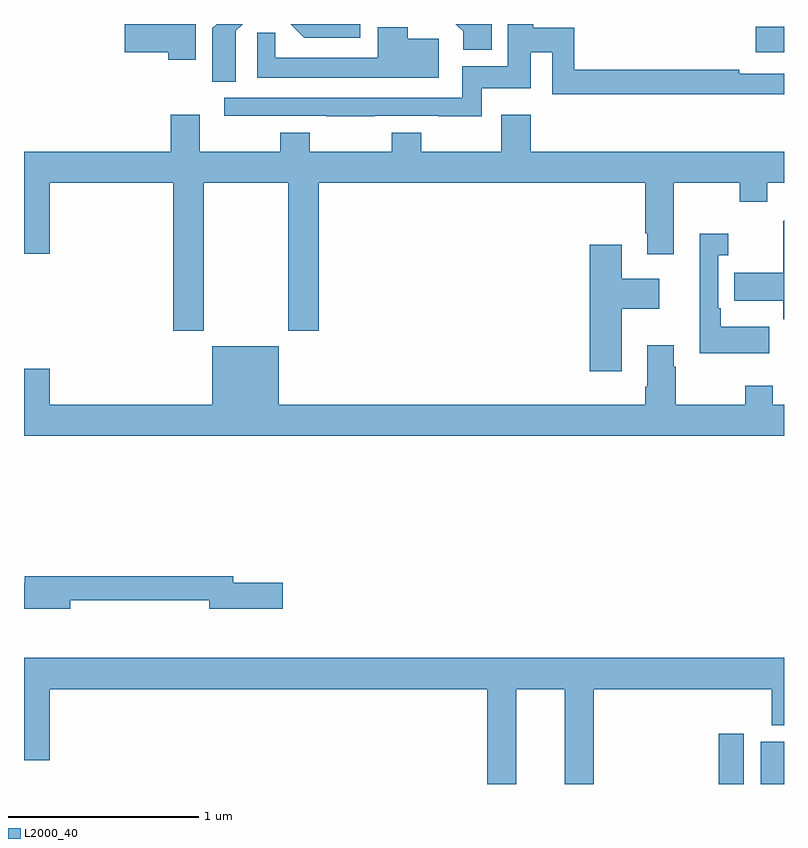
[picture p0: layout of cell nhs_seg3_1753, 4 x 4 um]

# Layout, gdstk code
import gdstk
lib = gdstk.Library(unit=1e-6, precision=1e-09)
def R(c, l, rs):  # rectangles x0, y0, x1, y1
    for r in rs: c.add(gdstk.rectangle(r[:2], r[2:], *l))
def P(c, l, *ps):  # polygons
    for p in ps: c.add(gdstk.Polygon(p, *l))
L2000_40 = (2000, 40)

nhs_seg3_1753 = lib.new_cell('nhs_seg3_1753')
R(nhs_seg3_1753, L2000_40, [(204.656,716.4,204.787,716.665), (204.878,716.4,205,716.623), (204.852,720.251,205,720.386)])
P(nhs_seg3_1753, L2000_40, [(203.461,720.4),(203.273,720.4),(203.312,720.361),(203.312,720.264),(203.461,720.264)],
  [(202.771,720.4),(202.403,720.4),(202.476,720.327),(202.771,720.327)],
  [(202.114,720.364),(202.15,720.4),(202.015,720.4),(201.992,720.377),(201.992,720.097),(202.114,720.097)],
  [(202.847,719.916),(203.179,719.916),(203.179,719.915),(203.41,719.915),(203.41,720.062),(203.668,720.062),(203.668,720.252),(203.781,720.252),(203.781,720.03),(205,720.03),(205,720.138),(204.764,720.138),(204.764,720.158),(203.897,720.158),(203.897,720.38),(203.681,720.38),(203.681,720.4),(203.546,720.4),(203.546,720.178),(203.306,720.178),(203.306,720.012),(202.053,720.012),(202.053,719.916),(202.591,719.916),(202.591,719.915),(202.847,719.915)],
  [(201.904,720.4),(201.53,720.4),(201.53,720.251),(201.758,720.251),(201.758,720.212),(201.904,720.212)],
  [(203.184,720.322),(203.02,720.322),(203.02,720.382),(202.862,720.382),(202.862,720.223),(202.322,720.223),(202.322,720.355),(202.228,720.355),(202.228,720.116),(203.184,720.116)],
  [(201.945,719.564),(202.39,719.564),(202.39,718.785),(202.55,718.785),(202.55,719.564),(204.269,719.564),(204.269,719.299),(204.281,719.299),(204.281,719.187),(204.421,719.187),(204.421,719.564),(204.766,719.564),(204.766,719.465),(204.913,719.465),(204.913,719.564),(205,719.564),(205,719.728),(203.666,719.728),(203.666,719.923),(203.513,719.923),(203.513,719.728),(203.091,719.728),(203.091,719.827),(202.936,719.827),(202.936,719.728),(202.503,719.728),(202.503,719.827),(202.348,719.827),(202.348,719.728),(201.925,719.728),(201.925,719.923),(201.773,719.923),(201.773,719.728),(201,719.728),(201,719.19),(201.136,719.19),(201.136,719.564),(201.785,719.564),(201.785,718.785),(201.945,718.785)],
  [(205,719.367),(204.996,719.363),(204.996,719.091),(204.739,719.091),(204.739,718.943),(204.996,718.943),(204.996,718.847),(205,718.847)],
  [(204.923,718.807),(204.667,718.807),(204.667,718.903),(204.654,718.903),(204.654,719.183),(204.706,719.183),(204.706,719.296),(204.557,719.296),(204.557,718.667),(204.923,718.667)],
  [(204.145,718.901),(204.343,718.901),(204.343,719.059),(204.145,719.059),(204.145,719.239),(203.978,719.239),(203.978,718.572),(204.145,718.572)],
  [(205,718.396),(204.942,718.396),(204.942,718.495),(204.796,718.495),(204.796,718.396),(204.429,718.396),(204.429,718.595),(204.421,718.595),(204.421,718.708),(204.281,718.708),(204.281,718.492),(204.269,718.492),(204.269,718.396),(202.342,718.396),(202.342,718.705),(201.992,718.705),(201.992,718.396),(201.136,718.396),(201.136,718.585),(201,718.585),(201,718.232),(205,718.232)],
  [(201.244,717.366),(201.974,717.366),(201.974,717.323),(202.363,717.323),(202.363,717.458),(202.102,717.458),(202.102,717.494),(201.005,717.494),(201.005,717.458),(201,717.458),(201,717.323),(201.244,717.323)],
  [(203.59,716.9),(203.846,716.9),(203.846,716.4),(203.999,716.4),(203.999,716.9),(204.935,716.9),(204.935,716.708),(205,716.708),(205,717.064),(201,717.064),(201,716.526),(201.136,716.526),(201.136,716.9),(203.438,716.9),(203.438,716.4),(203.59,716.4)])

lib.write_gds('nhs_seg3_1753.gds')
